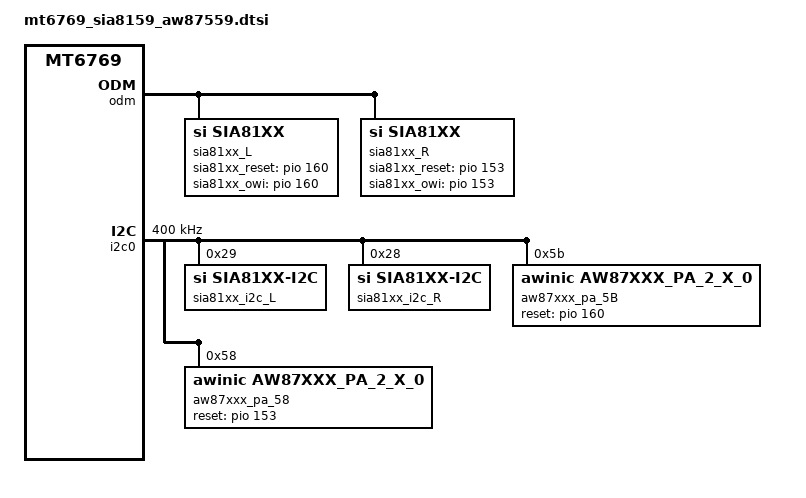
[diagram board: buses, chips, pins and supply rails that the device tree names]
/* Copyright (c) 2018, The Linux Foundation. All rights reserved.
 *
 * This program is free software; you can redistribute it and/or modify
 * it under the terms of the GNU General Public License version 2 and
 * only version 2 as published by the Free Software Foundation.
 *
 * This program is distributed in the hope that it will be useful,
 * but WITHOUT ANY WARRANTY; without even the implied warranty of
 * MERCHANTABILITY or FITNESS FOR A PARTICULAR PURPOSE.  See the
 * GNU General Public License for more details.
 */

&pio {
	sia81xx_gpio_L: sia81xx_gpio_L {
		pins_cmd_dat {
			pinmux = <PINMUX_GPIO160__FUNC_GPIO160>;
			slew-rate = <1>;
			bias-disable;
		};
	};

	sia81xx_gpio_R: sia81xx_gpio_R {
		pins_cmd_dat {
			pinmux = <PINMUX_GPIO153__FUNC_GPIO153>;
			slew-rate = <1>;
			bias-disable;
		};
	};
};

&odm {
	sia81xx_L: sia81xx@L {
		compatible = "si,sia81xx";
		si,sia81xx_type = "sia8159";
		si,sia81xx_reset = <&pio 160 0>;
		si,sia81xx_owi = <&pio 160 0>;
		pinctrl-names = "sia81xx_gpio";
		pinctrl-0 = <&sia81xx_gpio_L>;
		si,sia81xx_disable_pin = <1>;
		/* the same value share a same task
		 * valid value range : 0 ~ 7 */
		timer_task_hdl = <0>;
		en_peak_current_limit = <1>;
		channel_num = <0>;
		owi_mode = <6>;
		en_x_filter = <0>;
		en_dynamic_updata_vdd = <0>;
		en_dynamic_updata_pvdd = <0>;
		dynamic_updata_vdd_port = <0x2>;
	};
	sia81xx_R: sia81xx@R {
		compatible = "si,sia81xx";
		si,sia81xx_type = "sia8159";
		si,sia81xx_reset = <&pio 153 0>;
		si,sia81xx_owi = <&pio 153 0>;
		pinctrl-names = "sia81xx_gpio";
		pinctrl-0 = <&sia81xx_gpio_R>;
		si,sia81xx_disable_pin = <1>;
		/* the same value share a same task
		* valid value range : 0 ~ 7 */
		timer_task_hdl = <0>;
		en_peak_current_limit = <1>;
		channel_num = <1>;
		owi_mode = <6>;
		en_x_filter = <0>;
		en_dynamic_updata_vdd = <0>;
		en_dynamic_updata_pvdd = <0>;
		dynamic_updata_vdd_port = <0x2>;
	};
};

&sound {
	si,sia81xx-max-num = <2>;
	si,sia81xx-aux-devs = <&sia81xx_L>, <&sia81xx_R>;
	si,sia81xx-aux-devs-prefix = "SpkrLeft", "SpkrRight";
};

&i2c0 {
	#address-cells = <1>;
	#size-cells = <0>;
	clock-frequency = <400000>;
	mediatek,use-open-drain;

	sia81xx_i2c_L: sia81xx_i2c@L {
		compatible = "si,sia81xx-i2c";
		reg = <0x29>;
		si,sia81xx-dev = <&sia81xx_L>;
	};

	sia81xx_i2c_R: sia81xx_i2c@R {
		compatible = "si,sia81xx-i2c";
		reg = <0x28>;
		si,sia81xx-dev = <&sia81xx_R>;
	};

	/* AWINIC AW87XXX Smart K PA */
	aw87xxx_pa_5B@5B {
		compatible = "awinic,aw87xxx_pa_2_x_0";
		reg = <0x5B>;
		/*oplus-real-addr = <0x5B>;*/
		reset-gpio = <&pio 160 0>;
		dev_index = < 0 >;
		status = "okay";
	};

	aw87xxx_pa_58@58 {
		compatible = "awinic,aw87xxx_pa_2_x_0";
		reg = <0x58>;
		/*oplus-real-addr = <0x59>;*/
		reset-gpio = <&pio 153 0>;
		dev_index = < 1 >;
		status = "okay";
	};
/* AWINIC AW87XXX Smart K PA End */
};
